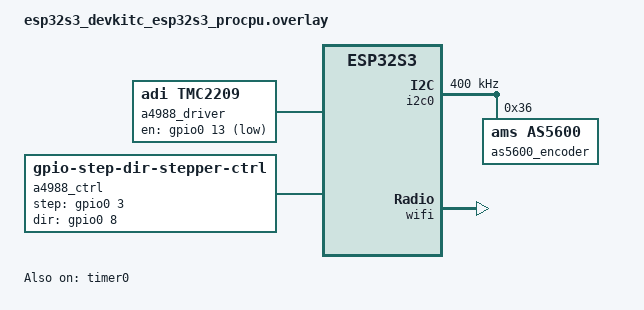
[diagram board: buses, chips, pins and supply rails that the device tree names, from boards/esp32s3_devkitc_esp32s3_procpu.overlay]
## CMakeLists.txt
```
cmake_minimum_required(VERSION 3.20.0)

list(APPEND ZEPHYR_EXTRA_MODULES
        "${CMAKE_CURRENT_LIST_DIR}/../../../zenbedded_transport"
        "${CMAKE_CURRENT_LIST_DIR}/../../../zenbedded_rcl"
)

find_package(Zephyr REQUIRED HINTS $ENV{ZEPHYR_BASE})

project(inverted_pendulum_tier2)
target_sources(app PRIVATE src/main.cpp)
target_compile_definitions(app PRIVATE _GNU_SOURCE _USE_MATH_DEFINES)
```

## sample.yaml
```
sample:
  name: Inverted Pendulum Tier2 Demo
common:
  build_only: true
  tags: zenoh
tests:
  sample.zenbedded.inverted_pendulum_tier2:
    platform_allow:
      - esp32s3_devkitc/esp32s3/procpu
```

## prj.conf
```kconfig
CONFIG_CPP=y
CONFIG_STD_CPP17=y
CONFIG_REQUIRES_FULL_LIBC=y

CONFIG_ZENBEDDED_TIER_2=y
CONFIG_ZENBEDDED_RCL=y
CONFIG_ZENBEDDED_RCL_PUB_TOPIC="zenbedded/inverted_pendulum/state"
CONFIG_ZENBEDDED_RCL_SUB_TOPIC="zenbedded/inverted_pendulum/cmd"

CONFIG_ZENBEDDED_ZENOH_IP_PORT="10.85.113.128:7447"
CONFIG_ZENBEDDED_QOS_RELIABLE=y

CONFIG_LOG=y
CONFIG_NET_DHCPV4=y
CONFIG_WIFI=y
CONFIG_WIFI_NM=y
CONFIG_WIFI_CREDENTIALS=y
CONFIG_WIFI_CREDENTIALS_CONNECT_STORED=y

CONFIG_STEPPER=y
CONFIG_GPIO=y
CONFIG_I2C=y
CONFIG_SENSOR=y
CONFIG_COUNTER=y
CONFIG_LED_STRIP=y


CONFIG_SHELL=y
CONFIG_NET_L2_WIFI_SHELL=y
CONFIG_WIFI_CREDENTIALS_SHELL=y

CONFIG_CBPRINTF_FP_SUPPORT=y
```

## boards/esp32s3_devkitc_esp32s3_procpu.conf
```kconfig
CONFIG_WIFI_ESP32=y
CONFIG_ESP32_WIFI_STA_AUTO_DHCPV4=y
CONFIG_ESP32_WIFI_STA_RECONNECT=y
CONFIG_SETTINGS=y
CONFIG_NVS=y
CONFIG_FLASH=y
CONFIG_FLASH_MAP=y

CONFIG_GLIBCXX_LIBCPP=y
CONFIG_POSIX_API=y
CONFIG_NEWLIB_LIBC=y
CONFIG_NEWLIB_LIBC_NANO=n
```

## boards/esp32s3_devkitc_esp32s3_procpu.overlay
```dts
#include <zephyr/dt-bindings/gpio/gpio.h>

/ {
	aliases {
		stepper-driver = &a4988_driver;
		stepper-ctrl = &a4988_ctrl;
		encoder-driver = &as5600_encoder;
	};

	a4988_driver: a4988-stepper-driver {
		compatible = "adi,tmc2209";
		en-gpios = <&gpio0 13 GPIO_ACTIVE_LOW>;
		micro-step-res = <16>;
	};

	a4988_ctrl: a4988-stepper-controller {
		compatible = "zephyr,gpio-step-dir-stepper-ctrl";
		step-gpios = <&gpio0 3 GPIO_ACTIVE_HIGH>;
		dir-gpios = <&gpio0 8 GPIO_ACTIVE_HIGH>;
		stepper-driver = <&a4988_driver>;
		invert-direction;
		counter = <&counter0>;
	};

	// Enable this and replace the alias for drivers like DRVxxx and TMC2209 so you can control microstepping

	//	tmc2209_driver: tmc2209-stepper-driver {
	//		compatible = "adi,tmc2209";
	//		en-gpios = <&gpio0 4 GPIO_ACTIVE_HIGH>;
	//		m0-gpios = <&gpio0 5 GPIO_ACTIVE_HIGH>;
	//		m1-gpios = <&gpio0 6 GPIO_ACTIVE_HIGH>;
	//		micro-step-res = <32>;
	//	};
	//
	//	tmc2209_ctrl: tmc2209-stepper-controller {
	//		compatible = "zephyr,gpio-step-dir-stepper-ctrl";
	//		step-gpios = <&gpio0 7 GPIO_ACTIVE_HIGH>;
	//		dir-gpios = <&gpio0 8 GPIO_ACTIVE_HIGH>;
	//		invert-direction;
	//		stepper-driver = <&tmc2209_driver>;
	//      counter = <&counter0>;
	//	};
};


&pinctrl {
	i2c0_default: i2c0_default {
		group1 {
			pinmux = <I2C0_SDA_GPIO1>, <I2C0_SCL_GPIO2>;
			bias-pull-up;
			drive-open-drain;
			output-high;
		};
	};
};


&i2c0 {
	status = "okay";
	pinctrl-0 = <&i2c0_default>;
	pinctrl-names = "default";
	clock-frequency = <I2C_BITRATE_FAST>;

	as5600_encoder: as5600@36 {
		compatible = "ams,as5600";
		reg = <0x36>;
		status = "okay";
	};
};


&wifi {
	status = "okay";
};


&timer0 {
	status = "okay";

	counter0: counter {
		status = "okay";
	};
};
```

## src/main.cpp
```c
// Copyright 2026 Open Source Robotics Foundation, Inc.
//
// Licensed under the Apache License, Version 2.0 (the "License");
// you may not use this file except in compliance with the License.
// You may obtain a copy of the License at
//
//     http://www.apache.org/licenses/LICENSE-2.0
//
// Unless required by applicable law or agreed to in writing, software
// distributed under the License is distributed on an "AS IS" BASIS,
// WITHOUT WARRANTIES OR CONDITIONS OF ANY KIND, either express or implied.
// See the License for the specific language governing permissions and
// limitations under the License.

#include <errno.h>
#include <esp_wifi.h>
#include <math.h>
#include <zenbedded_transport/generated/interface_data.h>
#include <zephyr/device.h>
#include <zephyr/devicetree.h>
#include <zephyr/drivers/led_strip.h>
#include <zephyr/drivers/sensor.h>
#include <zephyr/drivers/stepper/stepper.h>
#include <zephyr/drivers/stepper/stepper_ctrl.h>
#include <zephyr/kernel.h>
#include <zephyr/logging/log.h>
#include <zephyr/net/net_if.h>
#include <zephyr/net/wifi_mgmt.h>
#include <algorithm>
#include <zenbedded_rcl/codecs.hpp>
#include <zenbedded_rcl/zenbedded_client.hpp>

LOG_MODULE_REGISTER(inverted_pendulum_tier2, LOG_LEVEL_INF);

constexpr uint32_t kWifiConnectTimeout = 15000;  // ms
constexpr uint32_t kIpv4AcquireTimeout = 30000;  // ms
constexpr uint32_t kControlPeriodMs = 10;
constexpr double kControlPeriodSec = kControlPeriodMs / 1000.0;
constexpr uint32_t kCommandTimeoutMs = 200;

// A stale command must stop the stepper rather than latch the last velocity forever.
constexpr uint32_t kCommandTimeoutCycles = kCommandTimeoutMs / kControlPeriodMs;

// Bracket the commanded rate to what an A4988 can actually step; outside it, stop instead.
constexpr uint64_t kMinMicrostepIntervalNs = 60000;
constexpr uint64_t kMaxMicrostepIntervalNs = 1000000000;

constexpr uint32_t motor_steps_per_rev = 200;

// Hard travel limit on the stepper position, measured from the boot-time zero.
constexpr double kStepperAngleLimitRad = 135.0 * M_PI / 180.0;

// How far ahead of the current control cycle to project the commanded velocity
// before clamping and issuing it as a stepper_ctrl_move_to() target. 1.0 means
// "just enough to cover this control period"; a slightly larger value (e.g. 2-3)
// keeps the driver's move queue topped up so consecutive retargets don't cause
// it to decelerate to a stop between control cycles.
constexpr double kMoveToProjectionPeriods = 2.0;

BUILD_ASSERT(
  DT_NODE_HAS_PROP(DT_ALIAS(stepper_driver), micro_step_res),
  "stepper_driver needs micro-step-res: without it the published angles are off by that factor");

constexpr uint32_t micro_step_res = DT_PROP_OR(DT_ALIAS(stepper_driver), micro_step_res, 1);
constexpr int32_t micro_steps_per_rev = static_cast<int32_t>(motor_steps_per_rev * micro_step_res);

// Fastest angular rate representable given kMinMicrostepIntervalNs.
constexpr double kMaxAngularVelocityRadPerSec =
  (1e9 / static_cast<double>(kMinMicrostepIntervalNs)) * (2.0 * M_PI) / micro_steps_per_rev;

const device * stepper_driver = DEVICE_DT_GET(DT_ALIAS(stepper_driver));
const device * stepper_ctrl = DEVICE_DT_GET(DT_ALIAS(stepper_ctrl));
const device * encoder_driver = DEVICE_DT_GET(DT_ALIAS(encoder_driver));

// LED Setup
#define STRIP_NUM_PIXELS DT_PROP_OR(DT_ALIAS(led_strip), chain_length, 1)
#define RGB(_r, _g, _b) \
  led_rgb { .r = (_r), .g = (_g), .b = (_b) }
const device * led = DEVICE_DT_GET(DT_ALIAS(led_strip));
static led_rgb pixels[STRIP_NUM_PIXELS];
bool led_ready = false;

// Absolute microstep bounds corresponding to +-kStepperAngleLimitRad around the
// boot-time zero. Every move_to() target is clamped into this range before being
// sent to the driver, so the driver's own step-generation logic - not a polling
// loop - is what actually prevents stepping past the limit.
int32_t stepper_min_position = 0;
int32_t stepper_max_position = 0;

double microsteps_to_angle(int32_t microsteps)
{
  return 2.0 * M_PI * microsteps / micro_steps_per_rev;
}

void stop_stepper()
{
  int ret = stepper_ctrl_stop(stepper_ctrl);
  if (ret != 0)
  {
    LOG_ERR("Failed to stop stepper: %d", ret);
  }
}

void set_stepper_angular_vel(double rads_per_sec)
{
  if (!isfinite(rads_per_sec) || rads_per_sec == 0.0)
  {
    stop_stepper();
    return;
  }

  double microsteps_per_sec = fabs(rads_per_sec) * micro_steps_per_rev / (2 * M_PI);
  double interval_ns = 1e9 / microsteps_per_sec;

  if (interval_ns < kMinMicrostepIntervalNs)
  {
    stop_stepper();
    return;
  }

  interval_ns = std::clamp(
    interval_ns, static_cast<double>(kMinMicrostepIntervalNs),
    static_cast<double>(kMaxMicrostepIntervalNs));

  int ret = stepper_ctrl_set_microstep_interval(stepper_ctrl, static_cast<uint64_t>(interval_ns));
  if (ret != 0)
  {
    LOG_ERR("Failed to set microstep interval: %d", ret);
    return;
  }

  double signed_microsteps_per_sec =
    (rads_per_sec > 0.0) ? microsteps_per_sec : -microsteps_per_sec;
  double projected_microsteps =
    signed_microsteps_per_sec * kControlPeriodSec * kMoveToProjectionPeriods;

  int32_t actual_position = 0;
  stepper_ctrl_get_actual_position(stepper_ctrl, &actual_position);

  double target_position = static_cast<double>(actual_position) + projected_microsteps;
  target_position = std::clamp(
    target_position, static_cast<double>(stepper_min_position),
    static_cast<double>(stepper_max_position));

  ret = stepper_ctrl_move_to(stepper_ctrl, static_cast<int32_t>(lround(target_position)));
  if (ret != 0)
  {
    LOG_ERR("Failed to command stepper move: %d", ret);
  }
}

bool get_encoder_angle_deg(double * angle_rad)
{
  int ret = sensor_sample_fetch(encoder_driver);
  if (ret != 0)
  {
    return false;
  }

  sensor_value val{};
  ret = sensor_channel_get(encoder_driver, SENSOR_CHAN_ROTATION, &val);
  if (ret != 0)
  {
    return false;
  }

  *angle_rad = sensor_value_to_double(&val) * M_PI / 180;
  return true;
}

// Enforce the hard stepper travel limit in-place. If the commanded velocity would
// drive the stepper further past +-kStepperAngleLimitRad, it is zeroed; velocity that moves
// the stepper back toward the allowed range is left untouched. Recomputed every control
// cycle from the true current position, so it self-corrects rather than latching.
void enforce_stepper_hard_stop(double stepper_angle, double * stepper_angular_velocity)
{
  if (
    (stepper_angle >= kStepperAngleLimitRad && *stepper_angular_velocity > 0.0) ||
    (stepper_angle <= -kStepperAngleLimitRad && *stepper_angular_velocity < 0.0))
  {
    *stepper_angular_velocity = 0.0;
  }
}

int main()
{
  if (!device_is_ready(stepper_driver) || !device_is_ready(stepper_ctrl))
  {
    LOG_ERR("Stepper devices not ready\n");
    return 0;
  }

  if (!device_is_ready(encoder_driver))
  {
    LOG_ERR("Encoder device not ready\n");
    return 0;
  }

  // Set LEDs to Blue for the Setup Phase
  if (device_is_ready(led))
  {
    pixels[0] = RGB(0x00, 0x00, 0xFF);
    led_strip_update_rgb(led, pixels, STRIP_NUM_PIXELS);
    led_ready = true;
  }
  else
  {
    LOG_WRN("LED device not ready");
  }

  LOG_INF("Starting Inverted Pendulum Tier2");
  net_if * iface = net_if_get_default();

  LOG_INF("connecting to WiFi using stored credentials...");

  uint32_t timer = k_uptime_get_32();
  while (net_mgmt(NET_REQUEST_WIFI_CONNECT_STORED, iface, nullptr, 0) != 0)
  {
    if (k_uptime_get_32() - timer > kWifiConnectTimeout)
    {
      LOG_ERR("Wifi Connection Timedout ...");
      return -1;
    }
    LOG_ERR("WiFi connect-stored request failed... retrying...");
    k_sleep(K_MSEC(200));
  }

  LOG_INF("Connected... Waiting for IPV4 address");
  timer = k_uptime_get_32();
  while (net_if_ipv4_get_global_addr(iface, NET_ADDR_PREFERRED) == nullptr)
  {
    if (k_uptime_get_32() - timer > kIpv4AcquireTimeout)
    {
      LOG_ERR(
        "No IPV4 address within %u ms; check the stored WiFi credentials", kIpv4AcquireTimeout);
      return -1;
    }
    k_sleep(K_MSEC(200));
  }
  LOG_INF("Got IPV4 address");

  // Disable Wi-Fi power saving
  esp_wifi_set_ps(WIFI_PS_NONE);
  k_sleep(K_MSEC(200));

  static ZenbeddedClient<RawCodec<zenbedded_state_t>, RawCodec<zenbedded_command_t>> client;
  int ret = client.init(100);
  if (ret != 0)
  {
    LOG_ERR("Failed to initialize ZenbeddedClient: %d", ret);
    return ret;
  }

  ret = stepper_enable(stepper_driver);
  if (ret != 0)
  {
    LOG_ERR("Failed to enable stepper: %d", ret);
    return ret;
  }

  int32_t stepper_position = 0;
  double stepper_angle = 0;
  double stepper_angle_offset = 0;
  double encoder_angle = M_PI;  // upside down position
  double encoder_angle_offset = 0;
  double stepper_angular_velocity = 0;

  // Zero reference for the stepper: whatever position it is in at boot becomes 0,
  // so all reported/limited angles are relative to where the robot was powered on.
  ret = stepper_ctrl_get_actual_position(stepper_ctrl, &stepper_position);
  if (ret != 0)
  {
    LOG_ERR("Failed to read initial stepper position: %d", ret);
    return ret;
  }
  stepper_angle_offset = microsteps_to_angle(stepper_position);

  int32_t stepper_limit_microsteps =
    static_cast<int32_t>(lround(kStepperAngleLimitRad / (2.0 * M_PI) * micro_steps_per_rev));
  stepper_min_position = stepper_position - stepper_limit_microsteps;
  stepper_max_position = stepper_position + stepper_limit_microsteps;

  // Zero reference for the encoder: whatever the pendulum's angle is at boot becomes 0.
  // The pendulum must be hanging down (upside-down relative to the upright balance target)
  // when the board powers on, so this zero corresponds to that resting/down position.
  if (!get_encoder_angle_deg(&encoder_angle_offset))
  {
    LOG_ERR("Failed to read initial encoder angle; cannot calibrate the pendulum zero");
    return -EIO;
  }

  uint32_t last_command_count = client.accepted_command_count();
  uint32_t cycles_since_command = 0;
  uint32_t print_count = 0;
  double commanded_acceleration = 0.0;
  double prev_stepper_angle = stepper_angle;
  double prev_encoder_angle = encoder_angle;

  uint32_t led_toggle_counter = 0;
  bool is_led_red = true;

  while (true)
  {
    uint32_t loop_start_ms = k_uptime_get_32();

    if (stepper_ctrl_get_actual_position(stepper_ctrl, &stepper_position) == 0)
    {
      stepper_angle = microsteps_to_angle(stepper_position) - stepper_angle_offset;
    }

    double raw_encoder_angle = 0;
    if (get_encoder_angle_deg(&raw_encoder_angle))
    {
      double angle = fmod(raw_encoder_angle - encoder_angle_offset + M_PI, 2 * M_PI);
      if (angle > M_PI)
      {
        angle -= 2.0 * M_PI;
      }
      else if (angle <= -M_PI)
      {
        angle += 2.0 * M_PI;
      }
      encoder_angle = angle;
    }

    double motor_joint_velocity = (stepper_angle - prev_stepper_angle) / kControlPeriodSec;
    double pendulum_joint_velocity = (encoder_angle - prev_encoder_angle) / kControlPeriodSec;
    prev_stepper_angle = stepper_angle;
    prev_encoder_angle = encoder_angle;

    zenbedded_state_t state_val{
      .motor_joint_position = stepper_angle,
      .motor_joint_velocity = motor_joint_velocity,
      .pendulum_joint_position = encoder_angle,
      .pendulum_joint_velocity = pendulum_joint_velocity};

    if (++print_count == 100)
    {
      print_count = 0;
      printk(
        "stepper_angle=%.4f rad, stepper_vel=%.4f rad/s, "
        "encoder_angle=%.4f rad, encoder_vel=%.4f rad/s\n",
        stepper_angle, motor_joint_velocity, encoder_angle, pendulum_joint_velocity);
    }

    zenbedded_command_t cmd_val;

    client.write_state(state_val);

    const uint32_t command_count = client.accepted_command_count();
    if (command_count != last_command_count)
    {
      last_command_count = command_count;
      cycles_since_command = 0;
      if (client.read_command(cmd_val))
      {
        commanded_acceleration = cmd_val.motor_joint_acceleration;
      }
    }
    else if (cycles_since_command < kCommandTimeoutCycles)
    {
      ++cycles_since_command;
    }
    else if (commanded_acceleration != 0.0 || stepper_angular_velocity != 0.0)
    {
      LOG_WRN("No command for %u ms, stopping stepper", kCommandTimeoutMs);
      commanded_acceleration = 0.0;
      stepper_angular_velocity = 0.0;
    }

    // Integrate the (possibly stale-but-not-yet-timed-out) commanded acceleration into
    // velocity every control cycle, not just when a new command arrives.
    stepper_angular_velocity += commanded_acceleration * kControlPeriodSec;
    stepper_angular_velocity = std::clamp(
      stepper_angular_velocity, -kMaxAngularVelocityRadPerSec, kMaxAngularVelocityRadPerSec);

    // If the pendulum falls outside +-20 degrees, stop moving.
    if (fabs(encoder_angle) > (20.0 * M_PI / 180.0))
    {
      stepper_angular_velocity = 0.0;
      commanded_acceleration = 0.0;
    }

    enforce_stepper_hard_stop(stepper_angle, &stepper_angular_velocity);
    set_stepper_angular_vel(stepper_angular_velocity);

    // Flash Red and Green every 250ms
    if (led_ready && ++led_toggle_counter >= 25)
    {
      led_toggle_counter = 0;
      is_led_red = !is_led_red;
      pixels[0] = is_led_red ? RGB(0x00, 0x00, 0x00) : RGB(0x00, 0xFF, 0x00);
      led_strip_update_rgb(led, pixels, STRIP_NUM_PIXELS);
    }

    // ensure kControlPeriodMs loop timing
    uint32_t loop_duration_ms = k_uptime_get_32() - loop_start_ms;
    uint32_t sleep_ms =
      (loop_duration_ms < kControlPeriodMs) ? kControlPeriodMs - loop_duration_ms : 1;
    k_sleep(K_MSEC(sleep_ms));
  }

  client.destroy();
  return 0;
}
```
